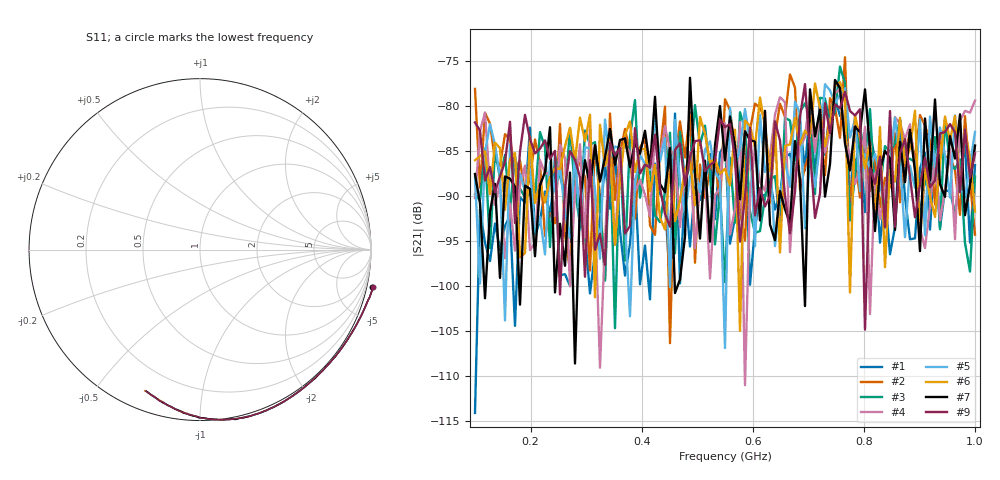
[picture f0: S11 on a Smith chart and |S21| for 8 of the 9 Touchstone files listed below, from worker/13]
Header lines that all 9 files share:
# HZ S RI R 50
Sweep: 100 MHz to 1 GHz
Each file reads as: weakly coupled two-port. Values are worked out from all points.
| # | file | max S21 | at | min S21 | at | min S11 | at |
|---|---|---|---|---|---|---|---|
| 1 | 20201206_134634.s2p | -79.14 dB | 748 MHz | -114.1 dB | 100 MHz | -1.0 dB | 1 GHz |
| 2 | 20201206_134635.s2p | -74.54 dB | 766 MHz | -106.4 dB | 451 MHz | -1.1 dB | 1 GHz |
| 3 | 20201206_134636.s2p | -75.58 dB | 757 MHz | -104.7 dB | 352 MHz | -1.0 dB | 1 GHz |
| 4 | 20201206_134638.s2p | -78.08 dB | 757 MHz | -111.1 dB | 586 MHz | -1.1 dB | 1 GHz |
| 5 | 20201206_134639.s2p | -77.54 dB | 730 MHz | -106.9 dB | 550 MHz | -1.0 dB | 1 GHz |
| 6 | 20201206_134640.s2p | -77.33 dB | 757 MHz | -105.0 dB | 577 MHz | -1.0 dB | 1 GHz |
| 7 | 20201206_134641.s2p | -76.82 dB | 487 MHz | -108.6 dB | 280 MHz | -1.1 dB | 1 GHz |
| 8 | 20201206_134642.s2p | -77.40 dB | 784 MHz | -110.7 dB | 910 MHz | -1.1 dB | 1 GHz |
| 9 | 20201206_134644.s2p | -77.53 dB | 694 MHz | -104.9 dB | 802 MHz | -1.1 dB | 1 GHz |
